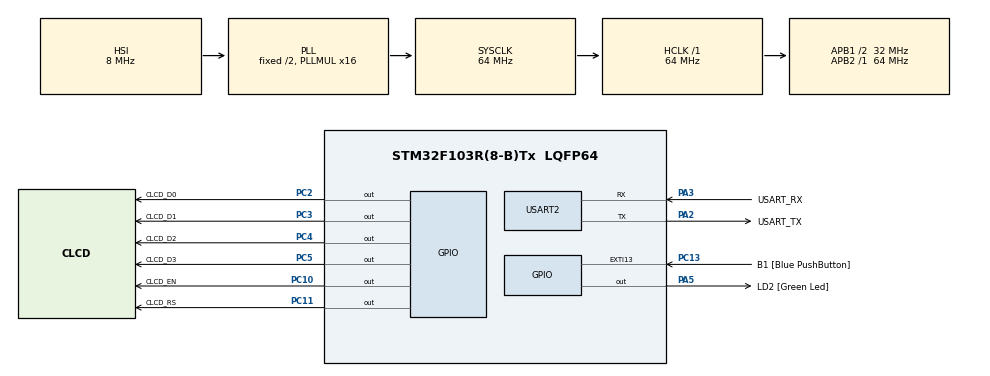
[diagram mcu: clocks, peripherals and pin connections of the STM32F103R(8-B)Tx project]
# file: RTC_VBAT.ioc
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Mcu.Family=STM32F1
Mcu.Name=STM32F103R(8-B)Tx
Mcu.Package=LQFP64
NVIC.PriorityGroup=NVIC_PRIORITYGROUP_4
NVIC.RTC_Alarm_IRQn=true\:0\:0\:false\:false\:true\:true\:true
PA13.GPIO_Label=TMS
PA13.Mode=Serial_Wire
PA13.Signal=SYS_JTMS-SWDIO
PA14.GPIO_Label=TCK
PA14.Mode=Serial_Wire
PA14.Signal=SYS_JTCK-SWCLK
PA2.GPIO_Label=USART_TX
PA2.GPIO_Mode=GPIO_MODE_AF_PP
PA2.GPIO_PuPd=GPIO_NOPULL
PA2.GPIO_Speed=GPIO_SPEED_FREQ_LOW
PA2.Mode=Asynchronous
PA2.Signal=USART2_TX
PA3.GPIO_Label=USART_RX
PA3.GPIO_Mode=GPIO_MODE_AF_PP
PA3.GPIO_PuPd=GPIO_NOPULL
PA3.GPIO_Speed=GPIO_SPEED_FREQ_LOW
PA3.Mode=Asynchronous
PA3.Signal=USART2_RX
PA5.GPIO_Label=LD2 [Green Led]
PA5.GPIO_ModeDefaultOutputPP=GPIO_MODE_OUTPUT_PP
PA5.GPIO_PuPd=GPIO_NOPULL
PA5.GPIO_Speed=GPIO_SPEED_FREQ_LOW
PA5.Signal=GPIO_Output
PB3.GPIO_Label=SWO
PB3.Signal=SYS_JTDO-TRACESWO
PC10.GPIO_Label=CLCD_EN
PC10.Signal=GPIO_Output
PC11.GPIO_Label=CLCD_RS
PC11.Signal=GPIO_Output
PC13-TAMPER-RTC.GPIO_Label=B1 [Blue PushButton]
PC13-TAMPER-RTC.GPIO_PuPd=GPIO_NOPULL
PC13-TAMPER-RTC.Signal=GPXTI13
PC14-OSC32_IN.Mode=LSE-External-Oscillator
PC14-OSC32_IN.Signal=RCC_OSC32_IN
PC15-OSC32_OUT.Mode=LSE-External-Oscillator
PC15-OSC32_OUT.Signal=RCC_OSC32_OUT
PC2.GPIO_Label=CLCD_D0
PC2.Signal=GPIO_Output
PC3.GPIO_Label=CLCD_D1
PC3.Signal=GPIO_Output
PC4.GPIO_Label=CLCD_D2
PC4.Signal=GPIO_Output
PC5.GPIO_Label=CLCD_D3
PC5.Signal=GPIO_Output
PD0-OSC_IN.Signal=RCC_OSC_IN
PD1-OSC_OUT.Signal=RCC_OSC_OUT
ProjectManager.HeapSize=0x200
ProjectManager.StackSize=0x400
ProjectManager.TargetToolchain=STM32CubeIDE
RCC.AHBFreq_Value=64000000
RCC.APB1CLKDivider=RCC_HCLK_DIV2
RCC.APB1Freq_Value=32000000
RCC.APB1TimFreq_Value=64000000
RCC.APB2Freq_Value=64000000
RCC.APB2TimFreq_Value=64000000
RCC.HCLKFreq_Value=64000000
RCC.PLLMUL=RCC_PLL_MUL16
RCC.RTCClockSelection=RCC_RTCCLKSOURCE_LSE
RCC.SYSCLKFreq_VALUE=64000000
RCC.SYSCLKSource=RCC_SYSCLKSOURCE_PLLCLK
RCC.USBFreq_Value=64000000
RTC.Date=28
RTC.Hours=0
RTC.Minutes=0
RTC.Month=RTC_MONTH_DECEMBER
RTC.WeekDay=RTC_WEEKDAY_MONDAY
RTC.Year=20
USART2.VirtualMode=VM_ASYNC
VP_RTC_VS_RTC_Activate.Mode=RTC_Enabled
VP_RTC_VS_RTC_Calendar.Mode=RTC_Calendar
board=NUCLEO-F103RB

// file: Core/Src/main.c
/* USER CODE BEGIN Header */
/**
  ******************************************************************************
  * @file           : main.c
  * @brief          : Main program body
  ******************************************************************************
  * @attention
  *
  * <h2><center>&copy; Copyright (c) 2020 STMicroelectronics.
  * All rights reserved.</center></h2>
  *
  * This software component is licensed by ST under BSD 3-Clause license,
  * the "License"; You may not use this file except in compliance with the
  * License. You may obtain a copy of the License at:
  *                        opensource.org/licenses/BSD-3-Clause
  *
  ******************************************************************************
  */
/* USER CODE END Header */
#include "main.h"

/* USER CODE BEGIN Includes */
#include <stdio.h>
#include <string.h>
#include "clcd/clcd.h"
/* USER CODE END Includes */

/* USER CODE BEGIN PM */
#define RTC_BKP_DR1_VALUE   0x32F2
/* USER CODE END PM */

RTC_HandleTypeDef hrtc;

UART_HandleTypeDef huart2;

/* USER CODE BEGIN PV */
char gLCDBuf1[17];
char gLCDBuf2[17];

/* USER CODE END PV */

void SystemClock_Config(void);
static void MX_GPIO_Init(void);
static void MX_USART2_UART_Init(void);
static void MX_RTC_Init(void);
/* USER CODE BEGIN PFP */
/**
  * @brief  Configure RTC Alarm.
  * @param  None
  * @retval None
  */
static void
RTC_AlarmConfig (void)
{
  printf ("%s\n", __FUNCTION__);

  RTC_TimeTypeDef stimestructure;
  RTC_AlarmTypeDef salarmstructure;

  /*########## Configure the RTC Alarm peripheral ##########*/
  HAL_RTC_GetTime (&hrtc, &stimestructure, RTC_FORMAT_BIN);

  salarmstructure.Alarm = RTC_ALARM_A;
  if(stimestructure.Seconds < 55)
    {
      salarmstructure.AlarmTime.Hours = stimestructure.Hours;
      salarmstructure.AlarmTime.Minutes = stimestructure.Minutes;
      salarmstructure.AlarmTime.Seconds = stimestructure.Seconds + 5;
    }
  else if(stimestructure.Minutes != 59)
    {
      salarmstructure.AlarmTime.Hours = stimestructure.Hours;
      salarmstructure.AlarmTime.Minutes = stimestructure.Minutes + 1;
      salarmstructure.AlarmTime.Seconds = stimestructure.Seconds + 5 - 60;
    }
  else
    {
      salarmstructure.AlarmTime.Hours = stimestructure.Hours + 1;
      salarmstructure.AlarmTime.Minutes = 0x0;
      salarmstructure.AlarmTime.Seconds = stimestructure.Seconds + 5 - 60;
    }

  if (HAL_RTC_SetAlarm_IT (&hrtc, &salarmstructure, RTC_FORMAT_BIN) != HAL_OK)
    {
      /* Initialization Error */
      Error_Handler ();
    }

  HAL_NVIC_SetPriority (RTC_Alarm_IRQn, 0, 0);
  HAL_NVIC_EnableIRQ (RTC_Alarm_IRQn);

  sprintf (gLCDBuf1, "      A-%02d:%02d:%02d", salarmstructure.AlarmTime.Hours,
           salarmstructure.AlarmTime.Minutes, salarmstructure.AlarmTime.Seconds);
}

/**
  * @brief  Display the current date and time.
  * @param  showtime : pointer to buffer
  * @retval None
  */
static void
RTC_TimeShow (char *showtime)
{
  RTC_DateTypeDef sdatestructureget;
  RTC_TimeTypeDef stimestructureget;
  uint32_t dateToStore;

  char temp[5];
  /* Get the RTC current Time */
  HAL_RTC_GetTime (&hrtc, &stimestructureget, RTC_FORMAT_BIN);
  /* Get the RTC current Date */
  HAL_RTC_GetDate (&hrtc, &sdatestructureget, RTC_FORMAT_BIN);
  /* Display time Format : MM/dd hh:mm:ss */
  sprintf (temp, "%04d", sdatestructureget.Year + 2000);
  memcpy ((void*) gLCDBuf1, temp, sizeof(temp) - 1);
  sprintf (showtime, "%02d/%02d   %02d:%02d:%02d", sdatestructureget.Month, sdatestructureget.Date,
           stimestructureget.Hours, stimestructureget.Minutes, stimestructureget.Seconds);

  /* Store date info into Backup Data Register */
  memcpy(&dateToStore, &sdatestructureget, 4);
  BKP->DR2 = dateToStore >> 16;
  BKP->DR3 = dateToStore & 0xFFFF;
}
/* USER CODE END PFP */

/* USER CODE BEGIN 0 */
#ifdef __GNUC__
#define PUTCHAR_PROTOTYPE int __io_putchar(int ch)
#else
#define PUTCHAR_PROTOTYPE int fputc(int ch, FILE *f)
#endif /* __GNUC__ */

/**
  * @brief  Retargets the C library printf function to the USART.
  * @param  None
  * @retval None
  */
PUTCHAR_PROTOTYPE
{
  /* Place your implementation of fputc here */
  /* e.g. write a character to the UART2 and Loop until the end of transmission */
  if(ch == '\n')
    HAL_UART_Transmit(&huart2, (uint8_t *)"\r", 1, 0xFFFF);
  HAL_UART_Transmit(&huart2, (uint8_t *)&ch, 1, 0xFFFF);

  return ch;
}

/* USER CODE END 0 */

int main(void)
{

  /* MCU Configuration--------------------------------------------------------*/

  /* Reset of all peripherals, Initializes the Flash interface and the Systick. */
  HAL_Init();

  /* Configure the system clock */
  SystemClock_Config();

  /* Initialize all configured peripherals */
  MX_GPIO_Init();
  MX_USART2_UART_Init();
  MX_RTC_Init();
  /* USER CODE BEGIN 2 */
  printf ("NUCLEO_F103RB RTC P/G\n");
  printf ("SYSCLK Frequency = %d\n", HAL_RCC_GetSysClockFreq());
  printf ("HCLK   Frequency = %d\n", HAL_RCC_GetHCLKFreq());
  printf ("PCLK   Frequency = %d\n", HAL_RCC_GetPCLK1Freq());
  /* USER CODE END 2 */

  /* Infinite loop */
  /* USER CODE BEGIN WHILE */
  /* LCD Initialize */
  CLCD_Init(16, 2);

  /* Check if the Power On Reset flag is set */
  if (__HAL_RCC_GET_FLAG(RCC_FLAG_PORRST) != RESET)
    {
      /* Power on reset occurred */
      printf("Power on reset occurred\n");
    }
  /* Check if Pin Reset flag is set */
  if (__HAL_RCC_GET_FLAG(RCC_FLAG_PINRST) != RESET)
    {
      /* External reset occurred */
      printf("External reset occurred\n");
    }
  /* Clear source Reset Flag */
  __HAL_RCC_CLEAR_RESET_FLAGS();

  /* Alarm Configuration */
  RTC_AlarmConfig();

  while (1)
  {
      RTC_TimeShow(gLCDBuf2);
      CLCD_Puts(0, 0, gLCDBuf1);
      CLCD_Puts(0, 1, gLCDBuf2);
//      printf("%s\n", gLCDBuf1);
      printf("%s\n", gLCDBuf2);

    /* USER CODE END WHILE */

    /* USER CODE BEGIN 3 */
      HAL_Delay(1000);
      HAL_GPIO_TogglePin(LD2_GPIO_Port, LD2_Pin);
  }
  /* USER CODE END 3 */
}

void SystemClock_Config(void)
{
  RCC_OscInitTypeDef RCC_OscInitStruct = {0};
  RCC_ClkInitTypeDef RCC_ClkInitStruct = {0};
  RCC_PeriphCLKInitTypeDef PeriphClkInit = {0};

  /** Initializes the RCC Oscillators according to the specified parameters
  * in the RCC_OscInitTypeDef structure.
  */
  RCC_OscInitStruct.OscillatorType = RCC_OSCILLATORTYPE_HSI|RCC_OSCILLATORTYPE_LSE;
  RCC_OscInitStruct.LSEState = RCC_LSE_ON;
  RCC_OscInitStruct.HSIState = RCC_HSI_ON;
  RCC_OscInitStruct.HSICalibrationValue = RCC_HSICALIBRATION_DEFAULT;
  RCC_OscInitStruct.PLL.PLLState = RCC_PLL_ON;
  RCC_OscInitStruct.PLL.PLLSource = RCC_PLLSOURCE_HSI_DIV2;
  RCC_OscInitStruct.PLL.PLLMUL = RCC_PLL_MUL16;
  if (HAL_RCC_OscConfig(&RCC_OscInitStruct) != HAL_OK)
  {
    Error_Handler();
  }
  /** Initializes the CPU, AHB and APB buses clocks
  */
  RCC_ClkInitStruct.ClockType = RCC_CLOCKTYPE_HCLK|RCC_CLOCKTYPE_SYSCLK
                              |RCC_CLOCKTYPE_PCLK1|RCC_CLOCKTYPE_PCLK2;
  RCC_ClkInitStruct.SYSCLKSource = RCC_SYSCLKSOURCE_PLLCLK;
  RCC_ClkInitStruct.AHBCLKDivider = RCC_SYSCLK_DIV1;
  RCC_ClkInitStruct.APB1CLKDivider = RCC_HCLK_DIV2;
  RCC_ClkInitStruct.APB2CLKDivider = RCC_HCLK_DIV1;

  if (HAL_RCC_ClockConfig(&RCC_ClkInitStruct, FLASH_LATENCY_2) != HAL_OK)
  {
    Error_Handler();
  }
  PeriphClkInit.PeriphClockSelection = RCC_PERIPHCLK_RTC;
  PeriphClkInit.RTCClockSelection = RCC_RTCCLKSOURCE_LSE;
  if (HAL_RCCEx_PeriphCLKConfig(&PeriphClkInit) != HAL_OK)
  {
    Error_Handler();
  }
}

static void MX_RTC_Init(void)
{

  RTC_TimeTypeDef sTime = {0};
  RTC_DateTypeDef DateToUpdate = {0};

  /** Initialize RTC Only
  */
  hrtc.Instance = RTC;
  hrtc.Init.AsynchPrediv = RTC_AUTO_1_SECOND;
  hrtc.Init.OutPut = RTC_OUTPUTSOURCE_ALARM;
  if (HAL_RTC_Init(&hrtc) != HAL_OK)
  {
    Error_Handler();
  }

  /* USER CODE BEGIN Check_RTC_BKUP */
  if (HAL_RTCEx_BKUPRead(&hrtc, RTC_BKP_DR1) == RTC_BKP_DR1_VALUE)
    {
      uint32_t dateMem;
      dateMem = BKP->DR3;
      dateMem |= BKP->DR2 << 16;
      memcpy(&DateToUpdate, &dateMem, sizeof(uint32_t));
      if(HAL_RTC_SetDate(&hrtc, &DateToUpdate, RTC_FORMAT_BIN) != HAL_OK)
        {
          Error_Handler();
        }

      return;
    }
  else
    HAL_RTCEx_BKUPWrite(&hrtc, RTC_BKP_DR1, RTC_BKP_DR1_VALUE);

  /* USER CODE END Check_RTC_BKUP */

  /** Initialize RTC and set the Time and Date
  */
  sTime.Hours = 0x16;
  sTime.Minutes = 0x0;
  sTime.Seconds = 0x20;

  if (HAL_RTC_SetTime(&hrtc, &sTime, RTC_FORMAT_BCD) != HAL_OK)
  {
    Error_Handler();
  }
  DateToUpdate.WeekDay = RTC_WEEKDAY_WEDNESDAY;
  DateToUpdate.Month = RTC_MONTH_DECEMBER;
  DateToUpdate.Date = 0x29;
  DateToUpdate.Year = 0x20;

  if (HAL_RTC_SetDate(&hrtc, &DateToUpdate, RTC_FORMAT_BCD) != HAL_OK)
  {
    Error_Handler();
  }

}

static void MX_USART2_UART_Init(void)
{

  huart2.Instance = USART2;
  huart2.Init.BaudRate = 115200;
  huart2.Init.WordLength = UART_WORDLENGTH_8B;
  huart2.Init.StopBits = UART_STOPBITS_1;
  huart2.Init.Parity = UART_PARITY_NONE;
  huart2.Init.Mode = UART_MODE_TX_RX;
  huart2.Init.HwFlowCtl = UART_HWCONTROL_NONE;
  huart2.Init.OverSampling = UART_OVERSAMPLING_16;
  if (HAL_UART_Init(&huart2) != HAL_OK)
  {
    Error_Handler();
  }

}

static void MX_GPIO_Init(void)
{
  GPIO_InitTypeDef GPIO_InitStruct = {0};

  /* GPIO Ports Clock Enable */
  __HAL_RCC_GPIOC_CLK_ENABLE();
  __HAL_RCC_GPIOD_CLK_ENABLE();
  __HAL_RCC_GPIOA_CLK_ENABLE();
  __HAL_RCC_GPIOB_CLK_ENABLE();

  /*Configure GPIO pin Output Level */
  HAL_GPIO_WritePin(GPIOC, CLCD_D0_Pin|CLCD_D1_Pin|CLCD_D2_Pin|CLCD_D3_Pin
                          |CLCD_EN_Pin|CLCD_RS_Pin, GPIO_PIN_RESET);

  /*Configure GPIO pin Output Level */
  HAL_GPIO_WritePin(LD2_GPIO_Port, LD2_Pin, GPIO_PIN_RESET);

  /*Configure GPIO pin : B1_Pin */
  GPIO_InitStruct.Pin = B1_Pin;
  GPIO_InitStruct.Mode = GPIO_MODE_IT_RISING;
  GPIO_InitStruct.Pull = GPIO_NOPULL;
  HAL_GPIO_Init(B1_GPIO_Port, &GPIO_InitStruct);

  /*Configure GPIO pins : CLCD_D0_Pin CLCD_D1_Pin CLCD_D2_Pin CLCD_D3_Pin
                           CLCD_EN_Pin CLCD_RS_Pin */
  GPIO_InitStruct.Pin = CLCD_D0_Pin|CLCD_D1_Pin|CLCD_D2_Pin|CLCD_D3_Pin
                          |CLCD_EN_Pin|CLCD_RS_Pin;
  GPIO_InitStruct.Mode = GPIO_MODE_OUTPUT_PP;
  GPIO_InitStruct.Pull = GPIO_NOPULL;
  GPIO_InitStruct.Speed = GPIO_SPEED_FREQ_LOW;
  HAL_GPIO_Init(GPIOC, &GPIO_InitStruct);

  /*Configure GPIO pin : LD2_Pin */
  GPIO_InitStruct.Pin = LD2_Pin;
  GPIO_InitStruct.Mode = GPIO_MODE_OUTPUT_PP;
  GPIO_InitStruct.Pull = GPIO_NOPULL;
  GPIO_InitStruct.Speed = GPIO_SPEED_FREQ_LOW;
  HAL_GPIO_Init(LD2_GPIO_Port, &GPIO_InitStruct);

}

/* USER CODE BEGIN 4 */
void
HAL_RTC_AlarmAEventCallback (RTC_HandleTypeDef *hrtc)
{
  printf ("%s\n", __FUNCTION__);

  RTC_AlarmTypeDef sAlarm;
  RTC_TimeTypeDef sTime;

  HAL_RTC_GetTime (hrtc, &sTime, RTC_FORMAT_BIN);

  if (sTime.Minutes == 59)
    {
      sAlarm.AlarmTime.Hours = sTime.Hours + 1;
      sAlarm.AlarmTime.Minutes = 0x0;
      sAlarm.AlarmTime.Seconds = sTime.Seconds - 1;
    }
  else
    {
      sAlarm.AlarmTime.Hours = sTime.Hours;
      sAlarm.AlarmTime.Minutes = sTime.Minutes + 1;
      sAlarm.AlarmTime.Seconds = sTime.Seconds - 1;
    }

  sAlarm.Alarm = RTC_ALARM_A;
  if (HAL_RTC_SetAlarm_IT (hrtc, &sAlarm, RTC_FORMAT_BIN) != HAL_OK)
    {
      Error_Handler ();
    }
  sprintf (gLCDBuf1, "      A-%02d:%02d:%02d", sAlarm.AlarmTime.Hours,
           sAlarm.AlarmTime.Minutes, sAlarm.AlarmTime.Seconds);
}
/* USER CODE END 4 */

void Error_Handler(void)
{
}

/************************ (C) COPYRIGHT STMicroelectronics *****END OF FILE****/
